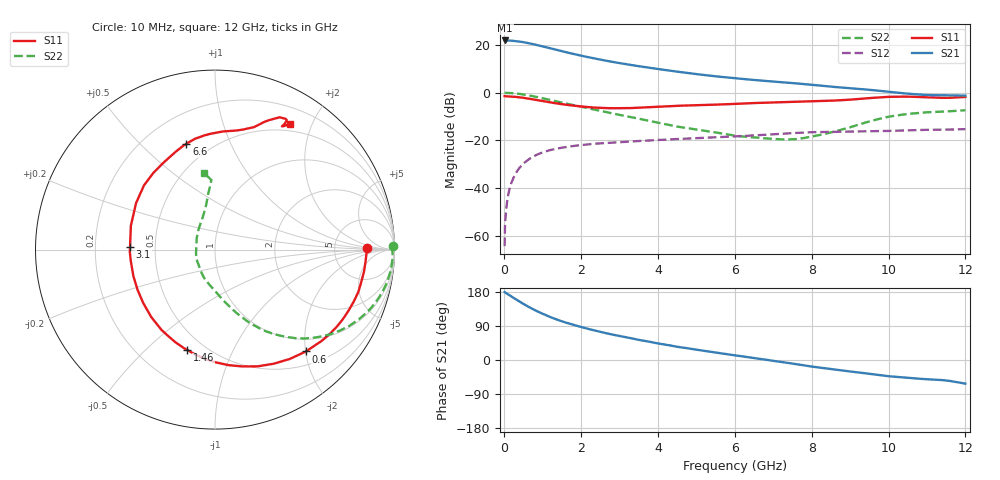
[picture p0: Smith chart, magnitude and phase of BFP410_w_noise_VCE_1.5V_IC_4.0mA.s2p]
! Infineon Technologies  Discrete & RF Semiconductors
! BFP410
! VCE =  1.5 V,  IC =  4.0 mA
! Common Emitter S-Parameters:  Nov 2015
# GHz  S  MA  R  50
!  f  S11  S21  S12  S22
! GHz  MAG  ANG  MAG  ANG  MAG  ANG  MAG  ANG
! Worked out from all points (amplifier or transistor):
!   243 points, 10 MHz to 12 GHz, reference 50 ohm
!   highest |S21| = 22.0 dB at 20 MHz (marker M1)
!   |S21| within 3 dB of that: start of sweep to 1.126 GHz
!   unconditionally stable (mu >= 1): 3.294 GHz to end of sweep
!   at 240 MHz: K = 0.08, MSG = 28.8 dB, |S12| = -35.8 dB
!   at 1.84 GHz: K = 0.57, MSG = 19.2 dB, |S12| = -22.3 dB
!   at 12 GHz: K = 1.08, MAG = 5.3 dB, |S12| = -15.3 dB
!   lowest NFmin = 0.94 dB at 900 MHz
!   S11 on the Smith chart (normalised r, x): 10 MHz: 12, +1; 600 MHz: 0.75, -2.01; 1.46 GHz: 0.40, -0.68; 3.1 GHz: 0.36, +0.01; 6.6 GHz: 0.37, +0.70; 12 GHz: 0.40, +1.69
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0.01  0.8472 0.5  12.44 179.4  0.0006 93.7  0.9903 1.0
0.02  0.8447 -1.4  12.53 178.6  0.0016 93.6  0.9881 -0.4
0.05  0.842 -4.0  12.47 176.1  0.0034 88.2  0.9911 -2.0
0.11  0.8384 -9.0  12.48 172.7  0.0077 85.2  0.9886 -4.9
0.3  0.8181 -24.5  12.18 160.4  0.0203 77.4  0.9648 -13.5
0.45  0.7933 -36.5  11.71 151.1  0.0296 71.5  0.9328 -19.8
0.6  0.7609 -48.2  11.14 142.0  0.038 65.8  0.8913 -25.8
0.8  0.715 -62.8  10.27 131.5  0.0478 59.2  0.8301 -32.9
1  0.6684 -76.9  9.405 121.9  0.0559 53.3  0.7655 -39.2
1.24  0.6192 -92.3  8.411 111.7  0.0637 47.4  0.6922 -45.6
1.46  0.5808 -105.3  7.579 103.6  0.0692 42.9  0.6309 -50.5
1.72  0.5452 -119.6  6.757 95.0  0.0748 38.5  0.5685 -55.4
2.02  0.5142 -134.4  5.956 86.6  0.08 34.4  0.5066 -60.3
2.58  0.4783 -161.1  4.823 72.3  0.0875 28.0  0.4044 -68.4
3.1  0.4737 178.1  4.067 61.4  0.093 23.8  0.3309 -75.3
4.1  0.5133 147.1  3.071 42.1  0.1029 17.5  0.2263 -90.9
5  0.5484 128.8  2.46 27.0  0.1112 12.4  0.1691 -111.0
6.1  0.5876 111.9  1.983 11.0  0.122 7.1  0.1232 -138.8
6.6  0.6108 105.1  1.825 3.7  0.1283 4.4  0.1138 -156.4
8.2  0.6656 83.1  1.42 -19.9  0.1492 -8.0  0.129 139.3
10.2  0.8239 62.8  1.01 -44.5  0.1597 -20.9  0.3319 95.7
12  0.8162 59.1  0.87 -62.4  0.1721 -34.2  0.4292 98.0
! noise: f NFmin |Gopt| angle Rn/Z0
0.45  0.98  0.32  5  0.21
0.9  0.94  0.3  19  0.2
1.8  1.11  0.22  51  0.18
2.4  1.13  0.21  57  0.19
5.5  2.09  0.32  -131  0.22
10  3.48  0.67  -53  1.85
